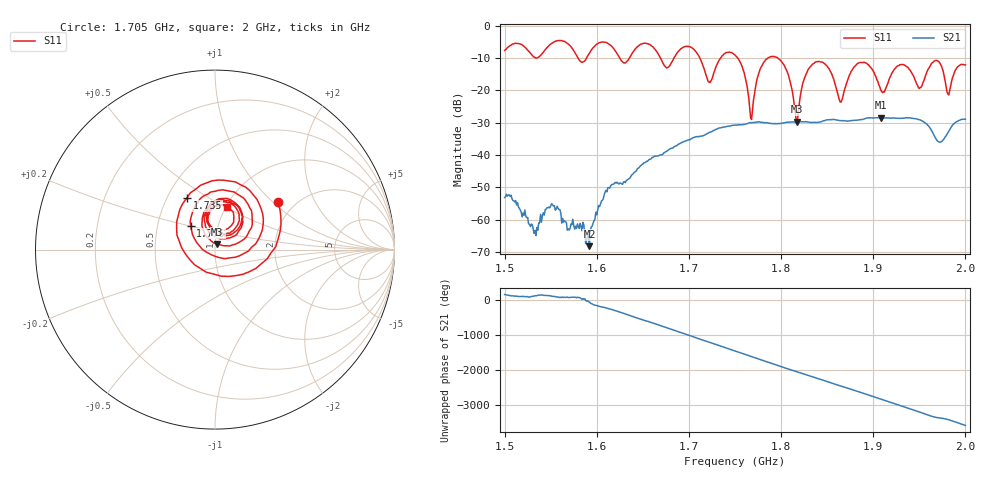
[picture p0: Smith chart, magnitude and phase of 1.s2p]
! NanoVNA-App by SYSJOINT et al v1.1.209 (+OD18)
! Date: 2026-01-21 14:41:02
! Start: 1,5GHz Stop: 2GHz Points: 501
! S-Parameter data: F S11 S21 S12 S22
# Hz S RI R 50
!  Frequency  S11_Real  S11_Imag  S21_Real  S21_Imag  S12_Real  S12_Imag  S22_Real  S22_Imag
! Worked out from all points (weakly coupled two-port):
!   501 points, 1.5 GHz to 2 GHz, reference 50 ohm
!   highest |S21| = -28.41 dB at 1.908 GHz (marker M1); lowest = -68.2 dB at 1.592 GHz (marker M2)
!   lowest |S11| = -29.7 dB at 1.817 GHz (marker M3), VSWR 1.07, Z = 50.8 + j3.21 ohm
!   |S11| at or under -10 dB: 1.712 GHz to 1.734 GHz (22.25 MHz wide, 1.29 % of centre); 1.753 GHz to 1.785 GHz (32.33 MHz wide, 1.83 % of centre); 1.797 GHz to end of sweep (the widest 3 of 6)
!   S12 and S22 are empty: the file has one direction only
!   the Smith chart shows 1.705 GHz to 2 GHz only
!   S11 on the Smith chart (normalised r, x): 1.705 GHz: 1.65, +1.07; 1.735 GHz: 0.63, +0.41; 1.776 GHz: 0.74, +0.20; 2 GHz: 1.01, +0.52
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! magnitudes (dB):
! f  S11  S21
! 1.5 GHz  -7.6  -53.2
! 1.533 GHz  -9.8  -63.4
! 1.584 GHz  -11.3  -63.5
! 1.592 GHz  -8.5  -68.2
! 1.611 GHz  -5.2  -51.4
! 1.667 GHz  -8.8  -40.2
! 1.705 GHz  -7.1  -34.6
! 1.722 GHz  -17.4  -33.0
! 1.735 GHz  -9.7  -31.5
! 1.75 GHz  -9.0  -30.7
! 1.767 GHz  -28.5  -30.0
! 1.776 GHz  -14.4  -29.7
! 1.8 GHz  -10.9  -30.2
! 1.817 GHz  -29.7  -29.7
! 1.834 GHz  -11.8  -29.9
! 1.864 GHz  -23.5  -29.3
! 1.885 GHz  -11.3  -29.1
! 1.908 GHz  -19.8  -28.4
! 1.917 GHz  -16.7  -28.5
! 1.969 GHz  -10.7  -35.5
! 1.982 GHz  -21.4  -32.6
! 2 GHz  -12.1  -28.9
